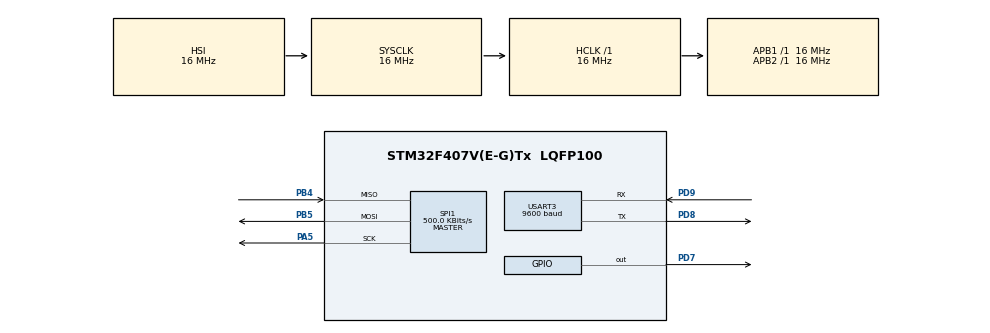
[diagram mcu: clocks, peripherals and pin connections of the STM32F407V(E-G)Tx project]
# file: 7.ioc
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Mcu.Family=STM32F4
Mcu.Name=STM32F407V(E-G)Tx
Mcu.Package=LQFP100
NVIC.PriorityGroup=NVIC_PRIORITYGROUP_4
PA5.Mode=Full_Duplex_Master
PA5.Signal=SPI1_SCK
PB4.Mode=Full_Duplex_Master
PB4.Signal=SPI1_MISO
PB5.Mode=Full_Duplex_Master
PB5.Signal=SPI1_MOSI
PD7.Signal=GPIO_Output
PD8.Mode=Asynchronous
PD8.Signal=USART3_TX
PD9.Mode=Asynchronous
PD9.Signal=USART3_RX
ProjectManager.HeapSize=0x200
ProjectManager.StackSize=0x400
ProjectManager.TargetToolchain=STM32CubeIDE
RCC.AHBFreq_Value=16000000
RCC.APB1Freq_Value=16000000
RCC.APB2Freq_Value=16000000
RCC.CortexFreq_Value=16000000
RCC.HSE_VALUE=25000000
RCC.HSI_VALUE=16000000
RCC.LSE_VALUE=32768
RCC.SYSCLKFreq_VALUE=16000000
RCC.VCOOutputFreq_Value=192000000
SPI1.BaudRatePrescaler=SPI_BAUDRATEPRESCALER_32
SPI1.CalculateBaudRate=500.0 KBits/s
SPI1.Direction=SPI_DIRECTION_2LINES
SPI1.Mode=SPI_MODE_MASTER
SPI1.VirtualType=VM_MASTER
USART3.BaudRate=9600
USART3.VirtualMode=VM_ASYNC
board=custom

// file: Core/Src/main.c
/* USER CODE BEGIN Header */
/**
  ******************************************************************************
  * @file           : main.c
  * @brief          : Main program body
  ******************************************************************************
  * @attention
  *
  * <h2><center>&copy; Copyright (c) 2021 STMicroelectronics.
  * All rights reserved.</center></h2>
  *
  * This software component is licensed by ST under BSD 3-Clause license,
  * the "License"; You may not use this file except in compliance with the
  * License. You may obtain a copy of the License at:
  *                        opensource.org/licenses/BSD-3-Clause
  *
  ******************************************************************************
  */
/* USER CODE END Header */
#include "main.h"

/* USER CODE BEGIN Includes */
#include <string.h>
#include <stdio.h>
#include "SPI_func.h"
//#include "SPI_var.h"
/* USER CODE END Includes */

/* USER CODE END PD */

/* USER CODE BEGIN PM */
SPI_HandleTypeDef hspi1;
UART_HandleTypeDef huart3;

/* USER CODE END PM */

/* USER CODE BEGIN PV */
#define STR_NUM	 16    		  // Time capsule amount of strings
#define STR_LEN	 100		  // Time capsule string length
uint8_t TimeCapsule[STR_NUM][STR_LEN] = {
		  "From: Dmitry Pustovalov, dmitrypustovalov2000@gmail.com\r\n",
		  "Mentor: Vladyslav Kotsiurba, vladyslav.kotsiurba@globallogic.com\r\n",
		  "Date: 29.11.2021\r\n",
		  "TIME CAPSULE\r\n",
		  "Read books but choose it wisely\r\n",
		  "Look for love in yourself then in others\r\n",
		  "Happiness is in your head, not in the end of path\r\n",
		  "The shortcut either leads to the wrong place or makes you pay twice\r\n",
		  "Goals are set only for the sake of the road to them, but not for their own sake\r\n",
		  "Don't be afraid of the way the time goes, love it\r\n",
		  "Gruppa Skryptonite - Latinskaya Muzyka\r\n",
		  "Jack London - Martin Eden\r\n",
		  "Martin Scorsese - Shutter Island\r\n",
		  "Audi A7\r\n",
		  "In rock we trust, it's rock or bust\r\n",
		  "Live long, die fast\r\n",
  };
/* USER CODE END PV */

void SystemClock_Config(void);
static void MX_GPIO_Init(void);
static void MX_SPI1_Init(void);
static void MX_USART3_UART_Init(void);

int main(void)
{

  /* MCU Configuration--------------------------------------------------------*/

  /* Reset of all peripherals, Initializes the Flash interface and the Systick. */
  HAL_Init();

  /* Configure the system clock */
  SystemClock_Config();

  /* Initialize all configured peripherals */
  MX_GPIO_Init();
  MX_SPI1_Init();
  MX_USART3_UART_Init();
  /* USER CODE BEGIN 2 */
  HAL_Delay(100);
  /* USER CODE END 2 */

  /* Infinite loop */
  /* USER CODE BEGIN WHILE */
  HAL_StatusTypeDef status ;
  uint16_t val;
  ShowInfo();
  while (val != 'q') {
	  status = HAL_UART_Receive(&huart3, &val, 1, 10);
	  		if (status == HAL_OK) {
	  		switch (val) {
	  			case '1':
	  				ChipErase();
	  				HAL_UART_Transmit(&huart3, (uint8_t*) "Entire memory was erased\r\n\n", 27, 50);
	  				break;
	  			case '2':
	  				ChipErase();
	  			  	WriteTimeCapsule(TimeCapsule);
	  			  	HAL_UART_Transmit(&huart3, (uint8_t*) "The time capsule was recorded\r\n\n",32, 50);
	  				break;
	  			case '3':
	  				HAL_UART_Transmit(&huart3, (uint8_t*) "The time capsule:\r\n",19, 50);
	  				ReadTimeCapsule();
	  				HAL_UART_Transmit(&huart3, (uint8_t*) "\r\n",2, 50);
	  				break;
	  			default:
	  				break;
	  			}
	  		}
    /* USER CODE END WHILE */

    /* USER CODE BEGIN 3 */
  }
  HAL_UART_Transmit(&huart3, (uint8_t*) "Exit\r\n", 6, 50);
  /* USER CODE END 3 */
}

void SystemClock_Config(void)
{
  RCC_OscInitTypeDef RCC_OscInitStruct = {0};
  RCC_ClkInitTypeDef RCC_ClkInitStruct = {0};

  /** Configure the main internal regulator output voltage
  */
  __HAL_RCC_PWR_CLK_ENABLE();
  __HAL_PWR_VOLTAGESCALING_CONFIG(PWR_REGULATOR_VOLTAGE_SCALE1);
  /** Initializes the RCC Oscillators according to the specified parameters
  * in the RCC_OscInitTypeDef structure.
  */
  RCC_OscInitStruct.OscillatorType = RCC_OSCILLATORTYPE_HSI;
  RCC_OscInitStruct.HSIState = RCC_HSI_ON;
  RCC_OscInitStruct.HSICalibrationValue = RCC_HSICALIBRATION_DEFAULT;
  RCC_OscInitStruct.PLL.PLLState = RCC_PLL_NONE;
  if (HAL_RCC_OscConfig(&RCC_OscInitStruct) != HAL_OK)
  {
    Error_Handler();
  }
  /** Initializes the CPU, AHB and APB buses clocks
  */
  RCC_ClkInitStruct.ClockType = RCC_CLOCKTYPE_HCLK|RCC_CLOCKTYPE_SYSCLK
                              |RCC_CLOCKTYPE_PCLK1|RCC_CLOCKTYPE_PCLK2;
  RCC_ClkInitStruct.SYSCLKSource = RCC_SYSCLKSOURCE_HSI;
  RCC_ClkInitStruct.AHBCLKDivider = RCC_SYSCLK_DIV1;
  RCC_ClkInitStruct.APB1CLKDivider = RCC_HCLK_DIV1;
  RCC_ClkInitStruct.APB2CLKDivider = RCC_HCLK_DIV1;

  if (HAL_RCC_ClockConfig(&RCC_ClkInitStruct, FLASH_LATENCY_0) != HAL_OK)
  {
    Error_Handler();
  }
}

static void MX_SPI1_Init(void)
{

  /* SPI1 parameter configuration*/
  hspi1.Instance = SPI1;
  hspi1.Init.Mode = SPI_MODE_MASTER;
  hspi1.Init.Direction = SPI_DIRECTION_2LINES;
  hspi1.Init.DataSize = SPI_DATASIZE_8BIT;
  hspi1.Init.CLKPolarity = SPI_POLARITY_LOW;
  hspi1.Init.CLKPhase = SPI_PHASE_1EDGE;
  hspi1.Init.NSS = SPI_NSS_SOFT;
  hspi1.Init.BaudRatePrescaler = SPI_BAUDRATEPRESCALER_32;
  hspi1.Init.FirstBit = SPI_FIRSTBIT_MSB;
  hspi1.Init.TIMode = SPI_TIMODE_DISABLE;
  hspi1.Init.CRCCalculation = SPI_CRCCALCULATION_DISABLE;
  hspi1.Init.CRCPolynomial = 10;
  if (HAL_SPI_Init(&hspi1) != HAL_OK)
  {
    Error_Handler();
  }

}

static void MX_USART3_UART_Init(void)
{

  huart3.Instance = USART3;
  huart3.Init.BaudRate = 9600;
  huart3.Init.WordLength = UART_WORDLENGTH_8B;
  huart3.Init.StopBits = UART_STOPBITS_1;
  huart3.Init.Parity = UART_PARITY_NONE;
  huart3.Init.Mode = UART_MODE_TX_RX;
  huart3.Init.HwFlowCtl = UART_HWCONTROL_NONE;
  huart3.Init.OverSampling = UART_OVERSAMPLING_16;
  if (HAL_UART_Init(&huart3) != HAL_OK)
  {
    Error_Handler();
  }

}

static void MX_GPIO_Init(void)
{
  GPIO_InitTypeDef GPIO_InitStruct = {0};

  /* GPIO Ports Clock Enable */
  __HAL_RCC_GPIOA_CLK_ENABLE();
  __HAL_RCC_GPIOD_CLK_ENABLE();
  __HAL_RCC_GPIOB_CLK_ENABLE();

  /*Configure GPIO pin Output Level */
  HAL_GPIO_WritePin(GPIOD, GPIO_PIN_7, GPIO_PIN_RESET);

  /*Configure GPIO pin : PD7 */
  GPIO_InitStruct.Pin = GPIO_PIN_7;
  GPIO_InitStruct.Mode = GPIO_MODE_OUTPUT_PP;
  GPIO_InitStruct.Pull = GPIO_NOPULL;
  GPIO_InitStruct.Speed = GPIO_SPEED_FREQ_LOW;
  HAL_GPIO_Init(GPIOD, &GPIO_InitStruct);

}

void Error_Handler(void)
{
  __disable_irq();
  while (1)
  {
  }
}

/************************ (C) COPYRIGHT STMicroelectronics *****END OF FILE****/
